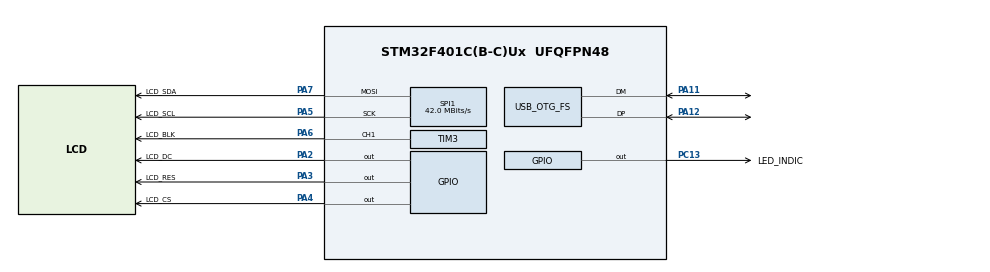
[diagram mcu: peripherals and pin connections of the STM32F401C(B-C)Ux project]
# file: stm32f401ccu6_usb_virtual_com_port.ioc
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Dma.Request0=SPI1_TX
Dma.SPI1_TX.0.Direction=DMA_MEMORY_TO_PERIPH
Dma.SPI1_TX.0.FIFOMode=DMA_FIFOMODE_DISABLE
Dma.SPI1_TX.0.Instance=DMA2_Stream3
Dma.SPI1_TX.0.MemDataAlignment=DMA_MDATAALIGN_HALFWORD
Dma.SPI1_TX.0.MemInc=DMA_MINC_ENABLE
Dma.SPI1_TX.0.Mode=DMA_NORMAL
Dma.SPI1_TX.0.PeriphDataAlignment=DMA_PDATAALIGN_HALFWORD
Dma.SPI1_TX.0.PeriphInc=DMA_PINC_DISABLE
Dma.SPI1_TX.0.Priority=DMA_PRIORITY_LOW
Mcu.Family=STM32F4
Mcu.Name=STM32F401C(B-C)Ux
Mcu.Package=UFQFPN48
NVIC.DMA2_Stream3_IRQn=true\:1\:0\:true\:false\:true\:false\:true\:true
NVIC.OTG_FS_IRQn=true\:0\:0\:false\:false\:true\:false\:true\:true
NVIC.PriorityGroup=NVIC_PRIORITYGROUP_4
PA11.Mode=Device_Only
PA11.Signal=USB_OTG_FS_DM
PA12.Mode=Device_Only
PA12.Signal=USB_OTG_FS_DP
PA13.Mode=Serial_Wire
PA13.Signal=SYS_JTMS-SWDIO
PA14.Mode=Serial_Wire
PA14.Signal=SYS_JTCK-SWCLK
PA2.GPIO_Label=LCD_DC
PA2.GPIO_PuPd=GPIO_PULLUP
PA2.GPIO_Speed=GPIO_SPEED_FREQ_HIGH
PA2.PinState=GPIO_PIN_SET
PA2.Signal=GPIO_Output
PA3.GPIO_Label=LCD_RES
PA3.GPIO_PuPd=GPIO_PULLUP
PA3.GPIO_Speed=GPIO_SPEED_FREQ_HIGH
PA3.PinState=GPIO_PIN_SET
PA3.Signal=GPIO_Output
PA4.GPIO_Label=LCD_CS
PA4.GPIO_PuPd=GPIO_PULLUP
PA4.GPIO_Speed=GPIO_SPEED_FREQ_HIGH
PA4.PinState=GPIO_PIN_SET
PA4.Signal=GPIO_Output
PA5.GPIO_Label=LCD_SCL
PA5.GPIO_PuPd=GPIO_PULLUP
PA5.Mode=TX_Only_Simplex_Unidirect_Master
PA5.Signal=SPI1_SCK
PA6.GPIO_Label=LCD_BLK
PA6.Signal=S_TIM3_CH1
PA7.GPIO_Label=LCD_SDA
PA7.GPIO_PuPd=GPIO_PULLUP
PA7.Mode=TX_Only_Simplex_Unidirect_Master
PA7.Signal=SPI1_MOSI
PC13-ANTI_TAMP.GPIO_Label=LED_INDIC
PC13-ANTI_TAMP.PinState=GPIO_PIN_SET
PC13-ANTI_TAMP.Signal=GPIO_Output
PH0\ -\ OSC_IN.Mode=HSE-External-Oscillator
PH0\ -\ OSC_IN.Signal=RCC_OSC_IN
PH1\ -\ OSC_OUT.Mode=HSE-External-Oscillator
PH1\ -\ OSC_OUT.Signal=RCC_OSC_OUT
ProjectManager.HeapSize=0x200
ProjectManager.StackSize=0x400
ProjectManager.TargetToolchain=STM32CubeIDE
RCC.48MHZClocksFreq_Value=48000000
RCC.AHBFreq_Value=84000000
RCC.APB1CLKDivider=RCC_HCLK_DIV2
RCC.APB1Freq_Value=42000000
RCC.APB1TimFreq_Value=84000000
RCC.APB2Freq_Value=84000000
RCC.APB2TimFreq_Value=84000000
RCC.CortexFreq_Value=84000000
RCC.HCLKFreq_Value=84000000
RCC.HSE_VALUE=25000000
RCC.HSI_VALUE=16000000
RCC.LSE_VALUE=32768
RCC.PLLM=25
RCC.PLLN=336
RCC.PLLP=RCC_PLLP_DIV4
RCC.PLLQ=7
RCC.SYSCLKFreq_VALUE=84000000
RCC.SYSCLKSource=RCC_SYSCLKSOURCE_PLLCLK
RCC.VCOOutputFreq_Value=336000000
SH.S_TIM3_CH1.0=TIM3_CH1,PWM Generation1 CH1
SPI1.BaudRatePrescaler=SPI_BAUDRATEPRESCALER_2
SPI1.CLKPolarity=SPI_POLARITY_HIGH
SPI1.CalculateBaudRate=42.0 MBits/s
SPI1.DataSize=SPI_DATASIZE_16BIT
SPI1.Direction=SPI_DIRECTION_2LINES
SPI1.Mode=SPI_MODE_MASTER
SPI1.VirtualType=VM_MASTER
TIM3.Channel-PWM\ Generation1\ CH1=TIM_CHANNEL_1
TIM3.Period=209
TIM3.Prescaler=999
USB_DEVICE.APP_RX_DATA_SIZE=64
USB_DEVICE.APP_TX_DATA_SIZE=64
USB_DEVICE.CLASS_NAME_FS=CDC
USB_DEVICE.VirtualMode=Cdc
USB_DEVICE.VirtualModeFS=Cdc_FS
USB_OTG_FS.VirtualMode=Device_Only
VP_USB_DEVICE_VS_USB_DEVICE_CDC_FS.Mode=CDC_FS
board=custom

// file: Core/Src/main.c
/* USER CODE BEGIN Header */
/*
 *  Copyright (C)2023, VadRov, all right reserved.
 *
 *  Проект демонстрирует работу с виртуальным com портом.
 *  Воспроизведение стримингового видео (motion jpeg)
 *  Версия для stm32f401x
 *
 *	Клиентская часть
 *  Данная программа для м/к в реальном времени непрерывно получает закодированные jpeg
 *  изображения по USB (виртуальному COM-порту клиенту) от компьютера (сервера),
 *  на стороне которого они и формируются (см. описание и код серверной программы).
 *  Полученные MCU-клиентом данные изображений декодируются из jpeg и выводятся на дисплей.
 *  Таким образом, изображение на мониторе компьютера дублируется на дисплее,
 *  подключенном к микроконтроллеру, выполняющему функции клиента, подключенного к серверу
 *  (компьютеру) посредством USB.
 *
 *  Проект "выходного дня", но может быть полезен в качестве наглядного примера организации
 *  работы с USB CDC с ипользованием двойного буфера (см. функцию CDC_Receive_FS в
 *  файле usbd_cdc_if.c).
 *
 *  Максимальная скорость "без нагрузки", которую удавалось достичь при передаче данных от компьютера
 *  к MCU с использованием библиотек от STM составила около 4,5 Мбит/с при теоретическом
 *  пределе в 12 Мбит/с.
 *
 *  Допускается свободное распространение.
 *  При любом способе распространения указание автора ОБЯЗАТЕЛЬНО.
 *  В случае внесения изменений и распространения модификаций указание первоначального автора ОБЯЗАТЕЛЬНО.
 *  Распространяется по типу "как есть", то есть использование осуществляется на свой страх и риск.
 *  Автор не предоставляет никаких гарантий.
 *
 *  https://www.youtube.com/@VadRov
 *  https://dzen.ru/vadrov
 *  https://vk.com/vadrov
 *  https://t.me/vadrov_channel
 */
/* USER CODE END Header */
#include "main.h"
#include "usb_device.h"

/* USER CODE BEGIN Includes */
#include "usbd_cdc_if.h"
#include "display.h"
#include "st7789.h"
#include "jpeg_chan.h"
/* USER CODE END Includes */

/* USER CODE BEGIN PTD */
extern USBD_HandleTypeDef hUsbDeviceFS;
/* USER CODE END PTD */

/* USER CODE BEGIN PD */
#define DISPLAY_DEBUG_DATA	0 /* Вывод некоторой отладочной информации на дисплей
								 (количество кадров в секунду, количество принимаемых байт в секунду)
							  	 1 - да, иное - нет
							   */
/* USER CODE END PD */

/* USER CODE BEGIN PV */
//Объявляем и инициализируем переменные:
//Буфер приема и его размер объявляются, соответственно, в файлах usbd_cdc_if.c и usdb_cdc_if.h
extern uint8_t buffer_rx[]; 		//Двойной буфер для приема сообщений от сервера - объявляется в файле usbd_cdc_if.c
									//Также не забываем прописать buffer_rx в функции CDC_Init_FS в файле usbd_cdc_if.c
volatile uint16_t buf_offs = 0;		//Переменная определяет активную половину буфера
volatile uint16_t len_buf = 0;		//Переменная определяем размер принятого сообщения от сервера
volatile uint8_t recieve_fl = 0; 	//Переменная определяет, что сообщение от сервера принято/не принято
//Не забудем "прописать" эти переменные в usbd_cdc_if.c
//volatile, потому что переменная изменяется, в т.ч., в прерывании.
volatile uint32_t millis = 0;		//Счетчик "системного времени", мс (инкрементируется каждую мс)
//Не забудем "прописать" millis в stm32f4xx_it.c
//Также в функции SysTick_Handler() указанного файла добавить: millis++;
/* USER CODE END PV */

void SystemClock_Config(void);
static void MX_GPIO_Init(void);
static void MX_DMA_Init(void);
static void MX_SPI1_Init(void);
static void MX_TIM3_Init(void);

int main(void)
{

  /* MCU Configuration--------------------------------------------------------*/

  /* Reset of all peripherals, Initializes the Flash interface and the Systick. */
  HAL_Init();

  /* Configure the system clock */
  SystemClock_Config();

  /* USER CODE BEGIN SysInit */
  //---------------------- Разгон для STM32F401xB/C, STM32F401xD/E до 108 MHz- Как пример использования ----------------------------
#if defined(STM32F401xB) || defined(STM32F401xC) || defined(STM32F401xD) || defined(STM32F401xE)
	LL_FLASH_SetLatency(LL_FLASH_LATENCY_3); 								//Переходя на повышенную частоту,
	while(LL_FLASH_GetLatency()!= LL_FLASH_LATENCY_3) ;						//предварительно увеличиваем задержку чтения флеш-памяти.
	LL_RCC_SetSysClkSource(LL_RCC_SYS_CLKSOURCE_HSE);						//Выбираем HSE, как источник тактирования.
	while(LL_RCC_GetSysClkSource() != LL_RCC_SYS_CLKSOURCE_STATUS_HSE) ;	//Ожидаем переход на новый источник тактирования.
	LL_RCC_PLL_Disable();													//Выключаем модуль PLL.
	LL_RCC_PLL_ConfigDomain_SYS(LL_RCC_PLLSOURCE_HSE, LL_RCC_PLLM_DIV_25, 432, LL_RCC_PLLP_DIV_4); //Меняем коэффициенты модуля PLL.
	LL_RCC_PLL_ConfigDomain_48M(LL_RCC_PLLSOURCE_HSE, LL_RCC_PLLM_DIV_25, 432, LL_RCC_PLLQ_DIV_9);
	LL_RCC_PLL_Enable();										//Включаем модуль PLL.
	while(LL_RCC_PLL_IsReady() != 1) ;							//Ожидаем готовности модуля PLL.
	LL_RCC_SetSysClkSource(LL_RCC_SYS_CLKSOURCE_PLL);			//Выбираем PLL, как источник тактирования.
	while(LL_RCC_GetSysClkSource() != LL_RCC_SYS_CLKSOURCE_STATUS_PLL) ; 	//Ожидаем переход на новый источник тактирования.
	SystemCoreClock = 108000000;											//Переопределяем частоту ядра на повышенную.
	SysTick_Config(SystemCoreClock/1000);									//В связи с изменением частоты ядра, перенастраиваем
																			//системный таймер SysTick для корректной работы
																			//счетчика "системного времени".
#endif
	//-----------------------------------------------------------------------------------------------------------------------------
  /* USER CODE END SysInit */

  /* Initialize all configured peripherals */
  MX_GPIO_Init();
  MX_DMA_Init();
  MX_USB_DEVICE_Init();
  MX_SPI1_Init();
  MX_TIM3_Init();
  /* USER CODE BEGIN 2 */
	//------------------- Настройка параметров и инициализация дисплея ---------------------
	LCD_BackLight_data bl_dat = { .htim_bk = TIM3,
		  	  	  	  	  	  	  .channel_htim_bk = LL_TIM_CHANNEL_CH1,
								  .blk_port = 0,
								  .blk_pin = 0,
								  .bk_percent = 75 };

	LCD_DMA_TypeDef hdma_spi1_tx = { .dma = DMA2,
		  	  	  	  	  	  	     .stream = LL_DMA_STREAM_3 };

	LCD_SPI_Connected_data spi_dat = { .spi = SPI1,
		  							   .dma_tx = hdma_spi1_tx,
 									   .reset_port = LCD_RES_GPIO_Port,
 									   .reset_pin = LCD_RES_Pin,
 									   .dc_port = LCD_DC_GPIO_Port,
 									   .dc_pin = LCD_DC_Pin,
 									   .cs_port = LCD_CS_GPIO_Port,
 									   .cs_pin = LCD_CS_Pin  };
#ifndef LCD_DYNAMIC_MEM
	LCD_Handler lcd1;
#endif
	//Для дисплея на контроллере ST7789
	LCD = LCD_DisplayAdd( LCD,
#ifndef LCD_DYNAMIC_MEM
	  	  	  	  	  	  &lcd1,
#endif
						  240,
						  240,
						  ST7789_CONTROLLER_WIDTH,
						  ST7789_CONTROLLER_HEIGHT,
						  //Задаем смещение по ширине и высоте для нестандартных или бракованных дисплеев:
						  0,		//смещение по ширине дисплейной матрицы
						  0,		//смещение по высоте дисплейной матрицы
						  PAGE_ORIENTATION_PORTRAIT,
						  ST7789_Init,
						  ST7789_SetWindow,
						  ST7789_SleepIn,
						  ST7789_SleepOut,
						  &spi_dat,
						  LCD_DATA_16BIT_BUS,
						  bl_dat );

	LCD_Handler *lcd = LCD; //указатель на первый дисплей в списке
	LCD_Init(lcd);
	LCD_Fill(lcd, 0x319bb1);

  /* USER CODE END 2 */

  /* Infinite loop */
  /* USER CODE BEGIN WHILE */
  iPicture_jpg file;

#if (DISPLAY_DEBUG_DATA == 1)
  uint32_t old_time = millis, bytes = 0;
  char fps_txt[10] = "???";
  char bytes_txt[10] = "???";
  uint32_t frames_s = 0;
#endif

  char message[100];
  uint8_t res = USBD_FAIL;

  //Формируем сообщение серверу, содержащее графическое разрешение дисплея
  //Можно и вот так, через sprintf, но на выходе код больше, что не есть хорошо
  /* sprintf(message, "MCU:%dX%d.F:%d.", lcd->Width, lcd->Height, BUFFER_SIZE/2); */
  strcpy(message, "MCU:");
  utoa(lcd->Width, &message[strlen(message)], 10);
  strcat(message, "X");
  utoa(lcd->Height, &message[strlen(message)], 10);
  strcat(message, ".F:");
  utoa(BUFFER_RX_SIZE/2, &message[strlen(message)], 10);
  strcat(message, ".");

  //Отправляем это сообщение компьютеру-серверу
  //Здесь цикл бесконечный. Для реальных задач/проектов
  //разумно сделать соответствующий таймаут с обработкой ошибки
  while (res != USBD_OK) {
	  res = CDC_Transmit_FS((uint8_t*)message, strlen(message));
  }

  while (1) {
	  if (recieve_fl) {	//Приняли сообщение от сервера?

		  //Подготавливаем данные для декодера jpeg
		  file.data = &buffer_rx[buf_offs]; //Стартовая позиция файла с картинкой в буфере
		  file.size = len_buf;				//Размер файла

#if (DISPLAY_DEBUG_DATA == 1)
		  bytes += len_buf;
#endif

		  //Инициализируем:
		  buf_offs = BUFFER_RX_SIZE/2 - buf_offs;	//Переменную, определяющую активную половину двойного буфера
		  recieve_fl = 0;							//Переменную, определяющую, что сообщение от сервера принято
		  len_buf = 0;								//Размер принятого от сервера сообщения

		  //Мы готовы принять следующее сообщение (вызываем процедуру подготовки к приему)
		  //Это сообщение уже будет приниматься в новую активную часть буфера,
		  //а в это время одновременно будет декодироваться картинка из jpeg файла, находящаяся
		  //в неактивной части буфера. Этот файл мы получили в предыдущем сообщении от сервера.
		  USBD_CDC_ReceivePacket(&hUsbDeviceFS);

		  //Декодируем файл с картинкой из неактивной части двойного буфера
		  (void)LCD_Load_JPG_chan(lcd, 0, 0, lcd->Width, lcd->Height, &file, PICTURE_IN_MEMORY);

#if (DISPLAY_DEBUG_DATA == 1) //Вывод отладочной информации (если разрешено)
		  LCD_WriteString(lcd, 8, lcd->Height - Font_8x13.height, fps_txt, &Font_8x13, COLOR_BLACK, COLOR_WHITE, LCD_SYMBOL_PRINT_FAST);
		  LCD_WriteString(lcd, 100, lcd->Height - Font_8x13.height, bytes_txt, &Font_8x13, COLOR_BLACK, COLOR_WHITE, LCD_SYMBOL_PRINT_FAST);
		  frames_s++; //Увеличиваем счетчик кадров
		  if (millis - old_time >= 1000) { 	//Прошла секунда (1000 миллисекунд)?
			  utoa(frames_s, fps_txt, 10); 	//Преобразуем в строку счетчик кадров, отображенных за секунду
			  frames_s = 0;				  	//и инициализируем его
			  old_time = millis;			//Инициализируем "старое" системное время
			  utoa(bytes, bytes_txt, 10);	//Преобразуем в строку счетчик количества байт, переданных за секунду
			  bytes = 0;					//и инициализируем его
		  }
#endif
	  }
//	  __NOP();								//Эквивалент ассемблерной мнемоники "nop", простой/задержка системы на 1 такт
	  	  	  	  	  	  	  	  	  	  	//Эту команду ярдро Cortex-M может "сбросить" с конвейера без исполнения
    /* USER CODE END WHILE */

  }
}

void SystemClock_Config(void)
{
  LL_FLASH_SetLatency(LL_FLASH_LATENCY_2);
  while(LL_FLASH_GetLatency()!= LL_FLASH_LATENCY_2)
  {
  }
  LL_PWR_SetRegulVoltageScaling(LL_PWR_REGU_VOLTAGE_SCALE2);
  LL_RCC_HSE_Enable();

   /* Wait till HSE is ready */
  while(LL_RCC_HSE_IsReady() != 1)
  {

  }
  LL_RCC_PLL_ConfigDomain_SYS(LL_RCC_PLLSOURCE_HSE, LL_RCC_PLLM_DIV_25, 336, LL_RCC_PLLP_DIV_4);
  LL_RCC_PLL_ConfigDomain_48M(LL_RCC_PLLSOURCE_HSE, LL_RCC_PLLM_DIV_25, 336, LL_RCC_PLLQ_DIV_7);
  LL_RCC_PLL_Enable();

   /* Wait till PLL is ready */
  while(LL_RCC_PLL_IsReady() != 1)
  {

  }
  while (LL_PWR_IsActiveFlag_VOS() == 0)
  {
  }
  LL_RCC_SetAHBPrescaler(LL_RCC_SYSCLK_DIV_1);
  LL_RCC_SetAPB1Prescaler(LL_RCC_APB1_DIV_2);
  LL_RCC_SetAPB2Prescaler(LL_RCC_APB2_DIV_1);
  LL_RCC_SetSysClkSource(LL_RCC_SYS_CLKSOURCE_PLL);

   /* Wait till System clock is ready */
  while(LL_RCC_GetSysClkSource() != LL_RCC_SYS_CLKSOURCE_STATUS_PLL)
  {

  }
  LL_SetSystemCoreClock(84000000);

   /* Update the time base */
  if (HAL_InitTick (TICK_INT_PRIORITY) != HAL_OK)
  {
    Error_Handler();
  }
  LL_RCC_SetTIMPrescaler(LL_RCC_TIM_PRESCALER_TWICE);
}

static void MX_SPI1_Init(void)
{

  LL_SPI_InitTypeDef SPI_InitStruct = {0};

  LL_GPIO_InitTypeDef GPIO_InitStruct = {0};

  /* Peripheral clock enable */
  LL_APB2_GRP1_EnableClock(LL_APB2_GRP1_PERIPH_SPI1);

  LL_AHB1_GRP1_EnableClock(LL_AHB1_GRP1_PERIPH_GPIOA);
  /**SPI1 GPIO Configuration
  PA5   ------> SPI1_SCK
  PA7   ------> SPI1_MOSI
  */
  GPIO_InitStruct.Pin = LCD_SCL_Pin|LCD_SDA_Pin;
  GPIO_InitStruct.Mode = LL_GPIO_MODE_ALTERNATE;
  GPIO_InitStruct.Speed = LL_GPIO_SPEED_FREQ_VERY_HIGH;
  GPIO_InitStruct.OutputType = LL_GPIO_OUTPUT_PUSHPULL;
  GPIO_InitStruct.Pull = LL_GPIO_PULL_UP;
  GPIO_InitStruct.Alternate = LL_GPIO_AF_5;
  LL_GPIO_Init(GPIOA, &GPIO_InitStruct);

  /* SPI1 DMA Init */

  /* SPI1_TX Init */
  LL_DMA_SetChannelSelection(DMA2, LL_DMA_STREAM_3, LL_DMA_CHANNEL_3);

  LL_DMA_SetDataTransferDirection(DMA2, LL_DMA_STREAM_3, LL_DMA_DIRECTION_MEMORY_TO_PERIPH);

  LL_DMA_SetStreamPriorityLevel(DMA2, LL_DMA_STREAM_3, LL_DMA_PRIORITY_LOW);

  LL_DMA_SetMode(DMA2, LL_DMA_STREAM_3, LL_DMA_MODE_NORMAL);

  LL_DMA_SetPeriphIncMode(DMA2, LL_DMA_STREAM_3, LL_DMA_PERIPH_NOINCREMENT);

  LL_DMA_SetMemoryIncMode(DMA2, LL_DMA_STREAM_3, LL_DMA_MEMORY_INCREMENT);

  LL_DMA_SetPeriphSize(DMA2, LL_DMA_STREAM_3, LL_DMA_PDATAALIGN_HALFWORD);

  LL_DMA_SetMemorySize(DMA2, LL_DMA_STREAM_3, LL_DMA_MDATAALIGN_HALFWORD);

  LL_DMA_DisableFifoMode(DMA2, LL_DMA_STREAM_3);

  /* SPI1 parameter configuration*/
  SPI_InitStruct.TransferDirection = LL_SPI_FULL_DUPLEX;
  SPI_InitStruct.Mode = LL_SPI_MODE_MASTER;
  SPI_InitStruct.DataWidth = LL_SPI_DATAWIDTH_16BIT;
  SPI_InitStruct.ClockPolarity = LL_SPI_POLARITY_HIGH;
  SPI_InitStruct.ClockPhase = LL_SPI_PHASE_1EDGE;
  SPI_InitStruct.NSS = LL_SPI_NSS_SOFT;
  SPI_InitStruct.BaudRate = LL_SPI_BAUDRATEPRESCALER_DIV2;
  SPI_InitStruct.BitOrder = LL_SPI_MSB_FIRST;
  SPI_InitStruct.CRCCalculation = LL_SPI_CRCCALCULATION_DISABLE;
  SPI_InitStruct.CRCPoly = 10;
  LL_SPI_Init(SPI1, &SPI_InitStruct);
  LL_SPI_SetStandard(SPI1, LL_SPI_PROTOCOL_MOTOROLA);

}

static void MX_TIM3_Init(void)
{

  LL_TIM_InitTypeDef TIM_InitStruct = {0};
  LL_TIM_OC_InitTypeDef TIM_OC_InitStruct = {0};

  LL_GPIO_InitTypeDef GPIO_InitStruct = {0};

  /* Peripheral clock enable */
  LL_APB1_GRP1_EnableClock(LL_APB1_GRP1_PERIPH_TIM3);

  TIM_InitStruct.Prescaler = 999;
  TIM_InitStruct.CounterMode = LL_TIM_COUNTERMODE_UP;
  TIM_InitStruct.Autoreload = 209;
  TIM_InitStruct.ClockDivision = LL_TIM_CLOCKDIVISION_DIV1;
  LL_TIM_Init(TIM3, &TIM_InitStruct);
  LL_TIM_DisableARRPreload(TIM3);
  LL_TIM_OC_EnablePreload(TIM3, LL_TIM_CHANNEL_CH1);
  TIM_OC_InitStruct.OCMode = LL_TIM_OCMODE_PWM1;
  TIM_OC_InitStruct.OCState = LL_TIM_OCSTATE_DISABLE;
  TIM_OC_InitStruct.OCNState = LL_TIM_OCSTATE_DISABLE;
  TIM_OC_InitStruct.CompareValue = 0;
  TIM_OC_InitStruct.OCPolarity = LL_TIM_OCPOLARITY_HIGH;
  LL_TIM_OC_Init(TIM3, LL_TIM_CHANNEL_CH1, &TIM_OC_InitStruct);
  LL_TIM_OC_DisableFast(TIM3, LL_TIM_CHANNEL_CH1);
  LL_TIM_SetTriggerOutput(TIM3, LL_TIM_TRGO_RESET);
  LL_TIM_DisableMasterSlaveMode(TIM3);
  LL_AHB1_GRP1_EnableClock(LL_AHB1_GRP1_PERIPH_GPIOA);
  /**TIM3 GPIO Configuration
  PA6   ------> TIM3_CH1
  */
  GPIO_InitStruct.Pin = LCD_BLK_Pin;
  GPIO_InitStruct.Mode = LL_GPIO_MODE_ALTERNATE;
  GPIO_InitStruct.Speed = LL_GPIO_SPEED_FREQ_LOW;
  GPIO_InitStruct.OutputType = LL_GPIO_OUTPUT_PUSHPULL;
  GPIO_InitStruct.Pull = LL_GPIO_PULL_NO;
  GPIO_InitStruct.Alternate = LL_GPIO_AF_2;
  LL_GPIO_Init(LCD_BLK_GPIO_Port, &GPIO_InitStruct);

}

static void MX_DMA_Init(void)
{

  /* Init with LL driver */
  /* DMA controller clock enable */
  LL_AHB1_GRP1_EnableClock(LL_AHB1_GRP1_PERIPH_DMA2);

  /* DMA interrupt init */
  /* DMA2_Stream3_IRQn interrupt configuration */
  NVIC_SetPriority(DMA2_Stream3_IRQn, NVIC_EncodePriority(NVIC_GetPriorityGrouping(),1, 0));
  NVIC_EnableIRQ(DMA2_Stream3_IRQn);

}

static void MX_GPIO_Init(void)
{
  LL_GPIO_InitTypeDef GPIO_InitStruct = {0};

  /* GPIO Ports Clock Enable */
  LL_AHB1_GRP1_EnableClock(LL_AHB1_GRP1_PERIPH_GPIOC);
  LL_AHB1_GRP1_EnableClock(LL_AHB1_GRP1_PERIPH_GPIOH);
  LL_AHB1_GRP1_EnableClock(LL_AHB1_GRP1_PERIPH_GPIOA);

  /**/
  LL_GPIO_SetOutputPin(LED_INDIC_GPIO_Port, LED_INDIC_Pin);

  /**/
  LL_GPIO_SetOutputPin(GPIOA, LCD_DC_Pin|LCD_RES_Pin|LCD_CS_Pin);

  /**/
  GPIO_InitStruct.Pin = LED_INDIC_Pin;
  GPIO_InitStruct.Mode = LL_GPIO_MODE_OUTPUT;
  GPIO_InitStruct.Speed = LL_GPIO_SPEED_FREQ_LOW;
  GPIO_InitStruct.OutputType = LL_GPIO_OUTPUT_PUSHPULL;
  GPIO_InitStruct.Pull = LL_GPIO_PULL_NO;
  LL_GPIO_Init(LED_INDIC_GPIO_Port, &GPIO_InitStruct);

  /**/
  GPIO_InitStruct.Pin = LCD_DC_Pin|LCD_RES_Pin|LCD_CS_Pin;
  GPIO_InitStruct.Mode = LL_GPIO_MODE_OUTPUT;
  GPIO_InitStruct.Speed = LL_GPIO_SPEED_FREQ_HIGH;
  GPIO_InitStruct.OutputType = LL_GPIO_OUTPUT_PUSHPULL;
  GPIO_InitStruct.Pull = LL_GPIO_PULL_UP;
  LL_GPIO_Init(GPIOA, &GPIO_InitStruct);

}

void Error_Handler(void)
{
  __disable_irq();
  while (1)
  {
  }
}
